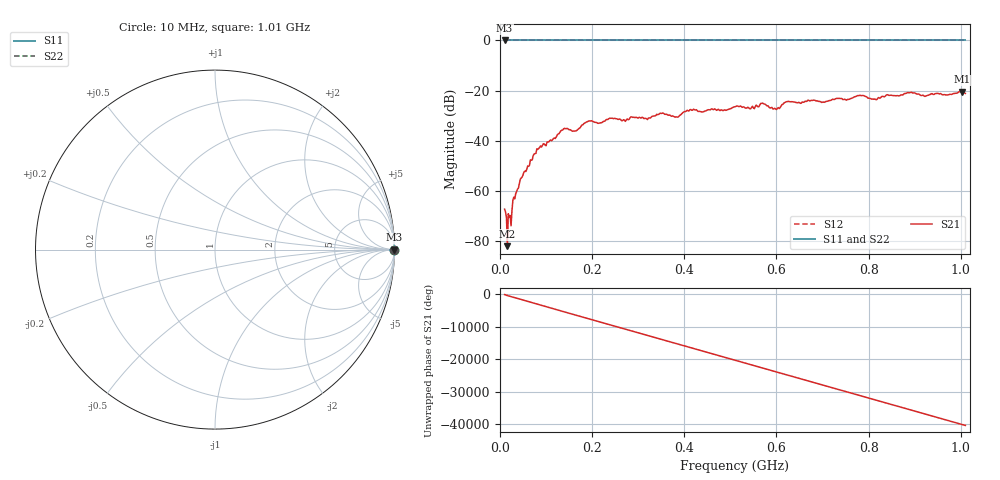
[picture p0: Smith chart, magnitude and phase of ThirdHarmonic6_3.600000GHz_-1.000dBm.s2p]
! 8/17/2025 12:00:07 PM
! C:\ANRITSUVNA\TEMP\TEMP.S2P
! CHANNEL.1
! TR.MEASUREMENT
! RAW.DATA
! RF.CORRECTION.OFF
! AVERAGING.OFF
! IF.BANDWIDTH: 5KHZ
! SWEEPTYPE:  FREQ.SWEEP(Linear)
! Reference Plane Port Info
! PORT:  PORT1  PORT2
! DISTANCE:  0  m  0  m
! TIME:  0  s  0  s
! PHASE.OFFSET:  0  deg.  0  deg.
! LOSS:  0  dB  0  dB
! REF.LOSS:  0  dB  0  dB
! REF.FREQ:  0  Hz  0  Hz
! Power Info
! POWER:  -20  dBm  -20  dBm
! EFF.POWER:  -20  dBm  -20  dBm
! SOURCE.ATTEN:  0  dB  0  dB
! TEST.ATTEN:  0  dB  0  dB
# GHZ S RI R 50.0
! FREQ.GHZ  S11RE  S11IM  S21RE  S21IM  S12RE  S12IM  S22RE  S22IM
!; PortSelection: Port_12
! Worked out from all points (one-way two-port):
!   501 points, 10 MHz to 1.01 GHz, reference 50 ohm
!   highest |S21| = -20.39 dB at 1.002 GHz (marker M1); lowest = -82.0 dB at 16 MHz (marker M2)
!   lowest |S11| = 0.0 dB at 10 MHz (marker M3)
!   |S11| at or under -10 dB: nowhere
!   |S22| runs from 0.0 to 0.0 dB; largest |S21 - S12| = 1.1
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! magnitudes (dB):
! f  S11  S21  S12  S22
! 10 MHz  0.0  -67.3  0.0  0.0
! 12 MHz  0.0  -68.4  0.0  0.0
! 16 MHz  0.0  -82.0  0.0  0.0
! 20 MHz  0.0  -70.4  0.0  0.0
! 32 MHz  0.0  -63.2  0.0  0.0
! 48 MHz  0.0  -54.5  0.0  0.0
! 84 MHz  0.0  -43.1  0.0  0.0
! 136 MHz  0.0  -35.7  0.0  0.0
! 162 MHz  0.0  -36.1  0.0  0.0
! 178 MHz  0.0  -33.7  0.0  0.0
! 344 MHz  0.0  -29.5  0.0  0.0
! 384 MHz  0.0  -30.6  0.0  0.0
! 410 MHz  0.0  -28.1  0.0  0.0
! 510 MHz  0.0  -26.5  0.0  0.0
! 570 MHz  0.0  -25.0  0.0  0.0
! 596 MHz  0.0  -27.0  0.0  0.0
! 622 MHz  0.0  -24.4  0.0  0.0
! 678 MHz  0.0  -23.9  0.0  0.0
! 814 MHz  0.0  -23.4  0.0  0.0
! 844 MHz  0.0  -21.9  0.0  0.0
! 1.002 GHz  0.0  -20.4  0.0  0.0
! 1.01 GHz  0.0  -21.1  0.0  0.0
